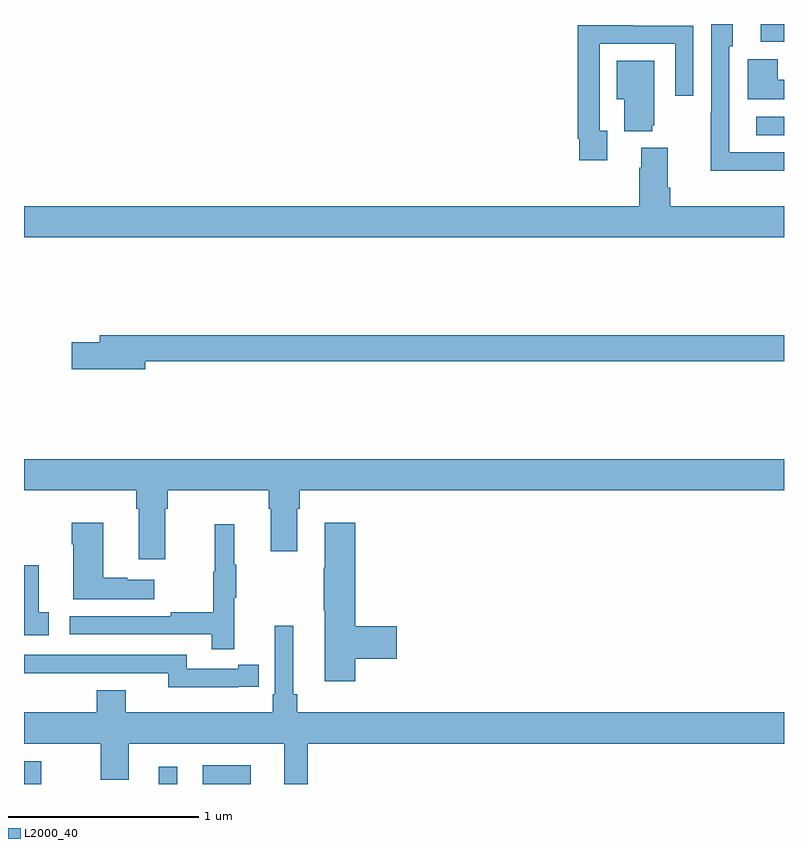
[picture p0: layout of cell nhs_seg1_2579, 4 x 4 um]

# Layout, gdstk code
import gdstk
lib = gdstk.Library(unit=1e-6, precision=1e-09)
def R(c, l, rs):  # rectangles x0, y0, x1, y1
    for r in rs: c.add(gdstk.rectangle(r[:2], r[2:], *l))
def P(c, l, *ps):  # polygons
    for p in ps: c.add(gdstk.Polygon(p, *l))
L2000_40 = (2000, 40)

nhs_seg1_2579 = lib.new_cell('nhs_seg1_2579')
R(nhs_seg1_2579, L2000_40, [(251,538.199,251.09,538.32), (251.708,538.199,251.806,538.291), (251.942,538.199,252.193,538.297), (254.853,541.614,255,541.71), (254.877,542.106,255,542.199)])
P(nhs_seg1_2579, L2000_40, [(255,541.524),(254.713,541.524),(254.713,541.778),(254.712,541.778),(254.712,542.082),(254.731,542.082),(254.731,542.199),(254.616,542.199),(254.616,541.733),(254.614,541.733),(254.614,541.427),(255,541.427)],
  [(254.071,541.638),(254.031,541.638),(254.031,542.094),(254.427,542.094),(254.427,541.821),(254.523,541.821),(254.523,542.19),(254.207,542.19),(254.207,542.192),(253.915,542.192),(253.915,541.594),(253.923,541.594),(253.923,541.482),(254.071,541.482)],
  [(255,541.906),(254.967,541.906),(254.967,542.014),(254.81,542.014),(254.81,541.802),(255,541.802)],
  [(254.306,541.665),(254.317,541.665),(254.317,542.005),(254.12,542.005),(254.12,541.802),(254.159,541.802),(254.159,541.634),(254.306,541.634)],
  [(255,541.24),(254.402,541.24),(254.402,541.336),(254.389,541.336),(254.389,541.549),(254.249,541.549),(254.249,541.442),(254.237,541.442),(254.237,541.24),(251,541.24),(251,541.076),(255,541.076)],
  [(251.638,540.424),(255,540.424),(255,540.56),(251.399,540.56),(251.399,540.524),(251.25,540.524),(251.25,540.382),(251.638,540.382)],
  [(251.743,539.648),(251.756,539.648),(251.756,539.744),(252.287,539.744),(252.287,539.648),(252.299,539.648),(252.299,539.424),(252.439,539.424),(252.439,539.648),(252.452,539.648),(252.452,539.744),(255,539.744),(255,539.908),(251,539.908),(251,539.744),(251.591,539.744),(251.591,539.648),(251.603,539.648),(251.603,539.382),(251.743,539.382)],
  [(252.743,538.859),(252.961,538.859),(252.961,539.03),(252.743,539.03),(252.743,539.575),(252.584,539.575),(252.584,539.336),(252.577,539.336),(252.577,539.113),(252.584,539.113),(252.584,538.74),(252.743,538.74)],
  [(251.686,539.275),(251.543,539.275),(251.543,539.285),(251.416,539.285),(251.416,539.575),(251.251,539.575),(251.251,539.462),(251.258,539.462),(251.258,539.171),(251.686,539.171)],
  [(252.107,539.179),(252.118,539.179),(252.118,539.353),(252.107,539.353),(252.107,539.566),(252.004,539.566),(252.004,539.316),(251.997,539.316),(251.997,539.102),(251.773,539.102),(251.773,539.082),(251.241,539.082),(251.241,538.986),(251.989,538.986),(251.989,538.908),(252.107,538.908)],
  [(251.131,539.103),(251.078,539.103),(251.078,539.35),(251,539.35),(251,538.983),(251.131,538.983)],
  [(252.493,538.412),(255,538.412),(255,538.576),(252.437,538.576),(252.437,538.672),(252.418,538.672),(252.418,539.032),(252.321,539.032),(252.321,538.672),(252.308,538.672),(252.308,538.576),(251.536,538.576),(251.536,538.693),(251.384,538.693),(251.384,538.576),(251,538.576),(251,538.412),(251.404,538.412),(251.404,538.222),(251.551,538.222),(251.551,538.412),(252.371,538.412),(252.371,538.199),(252.493,538.199)],
  [(252.128,538.71),(252.236,538.71),(252.236,538.826),(252.128,538.826),(252.128,538.806),(251.856,538.806),(251.856,538.878),(251,538.878),(251,538.781),(251.3,538.781),(251.3,538.782),(251.76,538.782),(251.76,538.709),(252.128,538.709)])

lib.write_gds('nhs_seg1_2579.gds')
